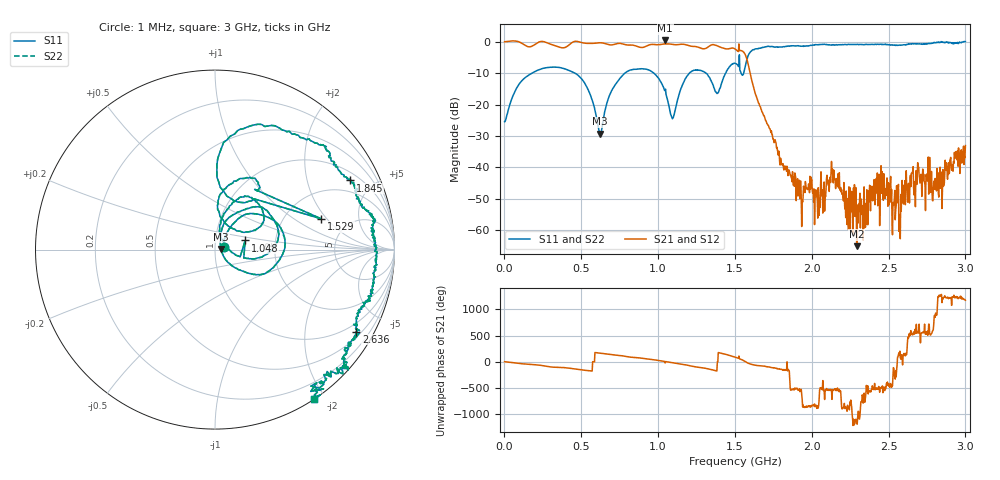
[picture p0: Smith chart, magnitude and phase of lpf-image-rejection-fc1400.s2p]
! created by azisi at Tue Aug 04 21:43:20 EEST 2020
! generated using vna/J Version 3.4.3
# Hz S DB R 50
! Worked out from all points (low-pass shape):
!   1006 points, 1 MHz to 3 GHz, reference 50 ohm
!   highest |S21| = 0.35 dB at 1.045 GHz (marker M1); lowest = -65.0 dB at 2.293 GHz (marker M2)
!   |S21| within 3 dB of the highest: start of sweep to 1.509 GHz; 1.52352 GHz to 1.52851 GHz (4.99 MHz wide, 0.327 % of centre)
!   lowest |S11| = -29.2 dB at 621.7 MHz (marker M3), VSWR 1.07, Z = 53.6 + j0.323 ohm
!   |S11| at or under -10 dB: start of sweep to 181 MHz; 456.6 MHz to 785.2 MHz (328.6 MHz wide, 52.9 % of centre); 971.9 MHz to 1.205 GHz (232.7 MHz wide, 21.4 % of centre)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
!   |S22| runs from -29.2 to 0.0 dB; largest |S21 - S12| = 0
!   S11 on the Smith chart (normalised r, x): 1 MHz: 1.11, +0.04; 1.048 GHz: 1.40, +0.15; 1.529 GHz: 3.16, +1.75; 1.845 GHz: 1.36, +3.68; 2.636 GHz: 0.67, -3.60; 3 GHz: -0.00, -1.87
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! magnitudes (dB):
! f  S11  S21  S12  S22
! 1 MHz  -25.4  -0.1  -0.1  -25.4
! 189 MHz  -9.8  -1.2  -1.2  -9.8
! 502.3 MHz  -11.8  -0.3  -0.3  -11.8
! 621.7 MHz  -29.2  -0.4  -0.4  -29.2
! 779.8 MHz  -10.2  -0.9  -0.9  -10.2
! 1.001 GHz  -11.5  -1.0  -1.0  -11.5
! 1.045 GHz  -15.6  0.4  0.4  -15.6
! 1.048 GHz  -15.1  -0.8  -0.8  -15.1
! 1.096 GHz  -24.3  -0.9  -0.9  -24.3
! 1.21 GHz  -9.7  -1.4  -1.4  -9.7
! 1.386 GHz  -16.5  -1.4  -1.4  -16.5
! 1.502 GHz  -7.0  -2.4  -2.4  -7.0
! 1.529 GHz  -4.2  -2.9  -2.9  -4.2
! 1.845 GHz  -1.5  -42.6  -42.6  -1.5
! 2 GHz  -1.2  -43.8  -43.8  -1.2
! 2.135 GHz  -1.1  -40.5  -40.5  -1.1
! 2.293 GHz  -0.9  -65.0  -65.0  -0.9
! 2.502 GHz  -1.0  -51.9  -51.9  -1.0
! 2.582 GHz  -1.1  -53.9  -53.9  -1.1
! 2.636 GHz  -0.8  -51.3  -51.3  -0.8
! 2.797 GHz  -0.4  -44.3  -44.3  -0.4
! 3 GHz  0.0  -33.0  -33.0  0.0
